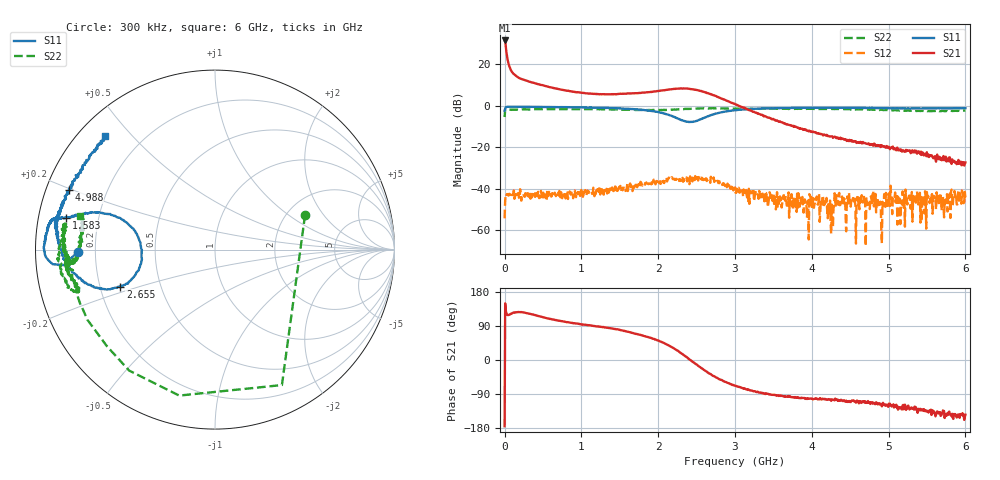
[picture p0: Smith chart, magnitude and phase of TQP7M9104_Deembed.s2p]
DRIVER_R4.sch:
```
<QucsStudio Schematic 4.3.1>
<Properties>
View=33,-186,2152,1350,0.589193,0,0
Grid=10,10,0
DataSet=*.dat
DataDisplay=*.sch
OpenDisplay=1
showFrame=0
FrameText0=Title
FrameText1=Drawn By:
FrameText2=Date:
FrameText3=Revision:
</Properties>
<Symbol>
.PortSym 40 20 1 0
.PortSym 40 60 2 0
</Symbol>
<Components>
Pac P1 0 140 410 18 -26 0 0 "1" 1 "50 Ω" 1 "0 dBm" 0 "1 GHz" 0 "26.85" 0 "SUBCLICK" 0
GND * 1 140 460 0 0 0 0
.SP SP1 1 140 -140 0 63 0 0 "lin" 1 "1 GHz" 1 "6 GHz" 1 "501" 1 "no" 0 "1" 0 "2" 0 "none" 0
Eqn Eqn1 1 140 60 0 8 0 0 "dBS11=dB(S[1,1])=" 1 "dBS21=dB(S[2,1])=" 1 "dBS12=dB(S[1,2])=" 1 "dBS22=dB(S[2,2])=" 1 "yes" 0
SUBST Subst1 1 350 -100 -30 24 0 0 "3.66" 1 "0.508 mm" 1 "35 µm" 1 "0.0031" 1 "1.72e-8" 1 "0.15 µm" 0 "Metal" 1 "Hammerstad" 0 "Kirschning" 0
L L5 0 530 360 -26 10 0 0 "1.8 nH" 1 "0" 0 "" 0 "SELF-WE-PD3S" 0
MLIN MS4 1 810 360 -50 -89 0 0 "Subst1" 1 "1.09 mm" 1 "1 mm" 1 "26.85" 0
GND * 1 670 500 0 0 0 0
GND * 1 390 500 0 0 0 0
MLIN MS1 1 530 320 -50 -89 0 0 "Subst1" 1 "1.09 mm" 1 "7 mm" 1 "26.85" 0
GND * 1 950 410 0 0 0 0
SPfile TQP7M9104_2 1 950 360 -26 -40 0 0 "TQP7M9104_Deembed.s2p" 0 "2" 0 "polar" 0 "linear" 0 "short" 0 "none" 0 "block" 0 "SOT23" 0
C C5 1 390 450 17 -26 0 1 "1.5pF" 1 "94e-6" 1 "" 0 "neutral" 0 "SMD0603" 0
C C8 1 670 450 17 -26 0 1 "2.7 pF" 1 "304e-6" 1 "" 0 "neutral" 0 "SMD0603" 0
MTEE MS5 1 670 360 -55 -110 0 0 "Subst1" 1 "1.09 mm" 1 "1.09 mm" 1 "0.762 mm" 1 "showNumbers" 0
MTEE MS6 1 390 360 -55 -110 0 0 "Subst1" 1 "1.09 mm" 1 "1.09 mm" 1 "0.762 mm" 1 "showNumbers" 0
MLIN MS9 1 1090 360 -50 -89 0 0 "Subst1" 1 "1.09 mm" 1 "1 mm" 1 "26.85" 0
MTEE MS10 1 1230 360 -51 14 0 2 "Subst1" 1 "1.09 mm" 1 "1.09 mm" 1 "0.66 mm" 1 "showNumbers" 0
L L6 0 1370 360 -26 10 0 0 "1.2 nH" 1 "0" 0 "" 0 "SELF-WE-PD3S" 0
GND * 1 1510 500 0 0 0 0
L L4 0 1650 360 -26 10 0 0 "2.5 nH" 1 "0" 0 "" 0 "SELF-WE-PD3S" 0
MLIN MS3 1 1650 320 -50 -89 0 0 "Subst1" 1 "1.09 mm" 1 "9 mm" 1 "26.85" 0
GND * 1 1790 500 0 0 0 0
C C7 1 1790 450 17 -26 0 1 "1.5 pF" 1 "94e-6" 1 "" 0 "neutral" 0 "SMD0603" 0
C C6 1 1510 450 17 -26 0 1 "6.8 pF" 1 "1.93e-3" 1 "" 0 "neutral" 0 "SMD0603" 0
MTEE MS7 1 1510 360 -55 -110 0 0 "Subst1" 1 "1.09 mm" 1 "1.09 mm" 1 "0.762 mm" 1 "showNumbers" 0
MTEE MS8 1 1790 360 -55 -110 0 0 "Subst1" 1 "1.09 mm" 1 "1.09 mm" 1 "0.762 mm" 1 "showNumbers" 0
GND * 1 1230 220 0 0 0 2
MLIN MS2 1 1370 320 -50 -89 0 0 "Subst1" 1 "1.09 mm" 1 "2 mm" 1 "26.85" 0
L L1 1 1230 270 10 -26 0 1 "12 nH" 1 "0" 0 "" 0 "SELF-WE-PD3S" 0
Pac P2 0 2040 410 18 -26 0 0 "2" 1 "50 Ω" 1 "0 dBm" 0 "1 GHz" 0 "26.85" 0 "SUBCLICK" 0
GND * 1 2040 460 0 0 0 0
C C9 1 250 360 -26 -74 0 2 "22pF" 1 "13.8e-3" 1 "" 0 "neutral" 0 "SMD0603" 0
C C10 1 1930 360 -26 -74 0 2 "22pF" 1 "13.8e-3" 1 "" 0 "neutral" 0 "SMD0603" 0
Port P3 1 100 360 -23 12 0 0 "1" 0 "analog" 0 "TESTPOINT" 0
Port P4 1 2080 360 4 -31 0 2 "2" 0 "analog" 0 "TESTPOINT" 0
</Components>
<Wires>
140 440 140 460 "" 0 0 0 ""
560 360 580 360 "" 0 0 0 ""
580 320 580 360 "" 0 0 0 ""
560 320 580 320 "" 0 0 0 ""
480 360 500 360 "" 0 0 0 ""
480 320 480 360 "" 0 0 0 ""
480 320 500 320 "" 0 0 0 ""
670 480 670 500 "" 0 0 0 ""
670 390 670 420 "" 0 0 0 ""
700 360 780 360 "" 0 0 0 ""
580 360 640 360 "" 0 0 0 ""
390 480 390 500 "" 0 0 0 ""
390 390 390 420 "" 0 0 0 ""
420 360 480 360 "" 0 0 0 ""
840 360 920 360 "" 0 0 0 ""
950 390 950 410 "" 0 0 0 ""
1400 360 1420 360 "" 0 0 0 ""
1420 320 1420 360 "" 0 0 0 ""
1400 320 1420 320 "" 0 0 0 ""
1320 360 1340 360 "" 0 0 0 ""
1320 320 1320 360 "" 0 0 0 ""
1320 320 1340 320 "" 0 0 0 ""
1510 480 1510 500 "" 0 0 0 ""
1680 360 1700 360 "" 0 0 0 ""
1700 320 1700 360 "" 0 0 0 ""
1680 320 1700 320 "" 0 0 0 ""
1600 360 1620 360 "" 0 0 0 ""
1600 320 1600 360 "" 0 0 0 ""
1600 320 1620 320 "" 0 0 0 ""
1790 480 1790 500 "" 0 0 0 ""
1790 390 1790 420 "" 0 0 0 ""
1700 360 1760 360 "" 0 0 0 ""
1540 360 1600 360 "" 0 0 0 ""
1510 390 1510 420 "" 0 0 0 ""
1420 360 1480 360 "" 0 0 0 ""
1230 220 1230 240 "" 0 0 0 ""
1230 300 1230 330 "" 0 0 0 ""
1120 360 1200 360 "" 0 0 0 ""
1260 360 1320 360 "" 0 0 0 ""
980 360 1060 360 "" 0 0 0 ""
140 360 140 380 "" 0 0 0 ""
140 360 220 360 "" 0 0 0 ""
280 360 360 360 "" 0 0 0 ""
2040 440 2040 460 "" 0 0 0 ""
1960 360 2040 360 "" 0 0 0 ""
2040 360 2040 380 "" 0 0 0 ""
1820 360 1900 360 "" 0 0 0 ""
100 360 140 360 "" 0 0 0 ""
2040 360 2080 360 "" 0 0 0 ""
</Wires>
<Diagrams>
<Smith 1140 1240 648 648 31 #c0c0c0 1 00 1 0 1 1 1 0 4 1 1 0 4 1 315 0 225 "" "" "">
	<Legend 10 -100 0>
	<"S[1,1]" "" #0000ff 0 3 0 0 0 0 "">
	  <Mkr 2.3e+09 -40 -660 3 1 0 0 1 50>
	<"S[2,2]" "" #ff0000 0 3 0 0 0 0 "">
	  <Mkr 2.3e+09 550 -660 3 1 0 0 1 50>
</Smith>
<Rect 179 1233 807 218 31 #c0c0c0 1 00 0 2e+09 1e+08 2.6e+09 0 10 0.5 15 0 -20 2 0 315 0 225 "" "" "">
	<Legend 10 -100 0>
	<"dBS11" "" #0000ff 0 3 0 0 1 0 "">
	<"dBS21" "" #ff0000 0 3 0 0 0 0 "">
	  <Mkr 2.4e+09 621 -273 3 1 0 0 0 50>
	  <Mkr 2.3e+09 461 -273 3 1 0 0 0 50>
	  <Mkr 2.2e+09 301 -273 3 1 0 0 0 50>
</Rect>
<Rect 178 853 807 218 31 #c0c0c0 1 00 0 1e+09 5e+08 6e+09 0 -80 20 20 0 -20 2 0 315 0 225 "" "" "">
	<Legend 10 -100 0>
	<"dBS11" "" #0000ff 0 3 0 0 1 0 "">
	<"dBS21" "" #ff0000 0 3 0 0 0 0 "">
	  <Mkr 2.4e+09 302 -273 3 1 0 0 0 50>
	  <Mkr 2.2e+09 2 -273 3 1 0 0 0 50>
	  <Mkr 2.3e+09 152 -273 3 1 0 0 0 50>
</Rect>
</Diagrams>
<Paintings>
_Pic 504 -136 "C:/Users/Daniel Tatum/Documents/Wireless and Control Systems/IRAD/S-Band/Simulations/0603-r14s-equivalent-series-resistance.png"
</Paintings>
```
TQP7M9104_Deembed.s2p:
! TriQuint Semiconductor
! Device: TQP7M9104 ( 5V 2W High Linearity Amplifier)
! 24 pin QFN 4X4mm SMT Package
! De-embedded S-parameter meausred using port extensions on the PCB.
! Port 1 extension : 196.83ps
! Port 2 extension : 193.02ps
! Network Analyzer HP8753E.07.72: Apr 03, 2002 Serial No. US38161002
! 25 Oct 2011  11:56:19
! Frequency  S11  S21  S12  S22
# HZ  S  DB R  50
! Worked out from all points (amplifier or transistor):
!   801 points, 300 kHz to 6 GHz, reference 50 ohm
!   highest |S21| = 31.5 dB at 7.8 MHz (marker M1)
!   |S21| within 3 dB of that: start of sweep to 16.06 MHz
!   unconditionally stable (mu >= 1): 229.2 MHz to 272.9 MHz; 316.3 MHz to 367.5 MHz; 490.2 MHz to end of sweep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
!   at 997.8 MHz: K = 1.32, MAG = 20.1 dB, |S12| = -40.6 dB
!   at 3 GHz: K = 4.97, MAG = 10.2 dB, |S12| = -39.4 dB
!   at 6 GHz: K = 167.10, MAG = -16.8 dB, |S12| = -44.1 dB
!   S11 on the Smith chart (normalised r, x): 300 kHz: 0.13, -0.01; 1.583 GHz: 0.08, +0.10; 2.655 GHz: 0.29, -0.17; 4.988 GHz: 0.07, +0.20; 6 GHz: 0.08, +0.42
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300000  -2.33 -179.1  31.53 -174.7  -54.30 149.6  -5.40 20.9
7799625  -1.44 -174.1  31.55 149.4  -45.53 54.6  -1.50 -63.7
3.779812e7  -0.47 -178.1  22.56 118.7  -42.58 6.3  -1.89 -145.8
4.529775e7  -0.45 -178.7  21.27 118.5  -43.12 18.9  -1.82 -151.1
9.779512e7  -0.41 179.0  16.25 123.4  -43.09 -5.6  -1.86 -165.4
3.452828e8  -0.53 174.0  11.38 120.9  -41.28 3.3  -1.74 -174.6
1.582721e9  -1.43 167.9  5.82 75.7  -40.81 -13.5  -1.89 -167.9
2.655167e9  -4.95 -158.7  6.00 -34.5  -35.34 -117.1  -1.26 -174.9
3.00015e9  -2.14 -169.2  0.90 -67.7  -39.42 -168.4  -1.45 175.3
4.987551e9  -1.11 157.8  -20.24 -120.2  -45.47 109.6  -2.09 -174.6
6e9  -1.12 133.9  -27.32 -144.4  -44.12 66.5  -2.20 165.8
